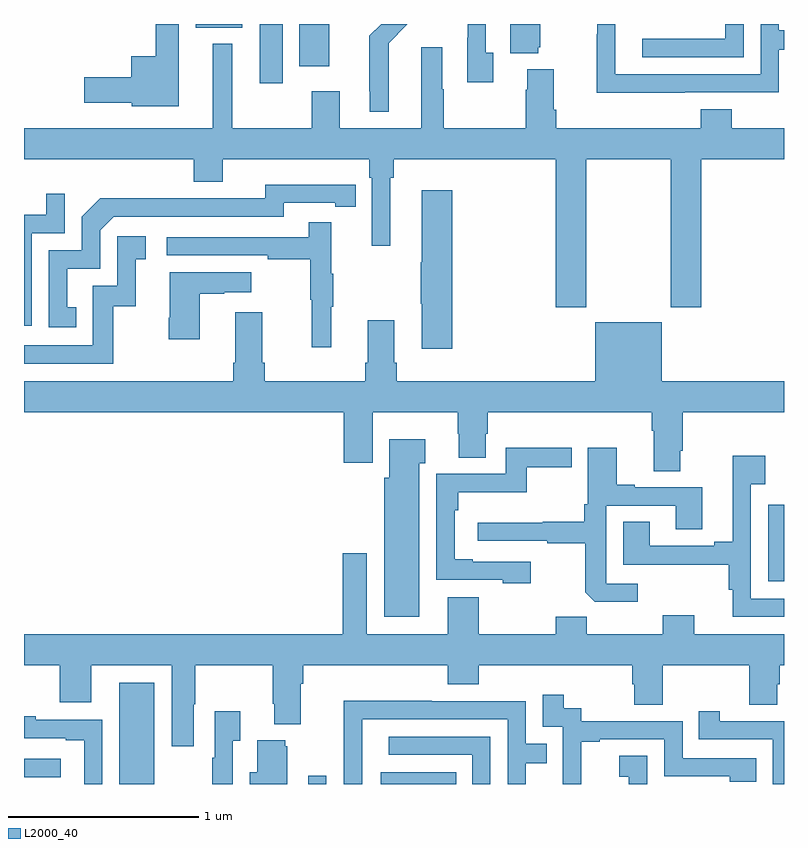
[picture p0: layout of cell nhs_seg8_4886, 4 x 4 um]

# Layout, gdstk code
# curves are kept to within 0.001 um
import gdstk
lib = gdstk.Library(unit=1e-6, precision=1e-09)
def R(c, l, rs):  # rectangles x0, y0, x1, y1
    for r in rs: c.add(gdstk.rectangle(r[:2], r[2:], *l))
def P(c, l, *ps):  # polygons
    for p in ps: c.add(gdstk.Polygon(p, *l))
L2000_40 = (2000, 40)

nhs_seg8_4886 = lib.new_cell('nhs_seg8_4886')
R(nhs_seg8_4886, L2000_40, [(407.501,1091.9,407.686,1092.433), (408.495,1091.9,408.591,1091.944), (408.878,1091.9,409.274,1091.962), (407,1091.936,407.194,1092.033), (410.916,1092.966,411,1093.369), (408.242,1095.588,408.361,1095.9), (408.449,1095.678,408.607,1095.9), (407.903,1095.881,408.148,1095.9)])
P(nhs_seg8_4886, L2000_40, [(408.919,1095.8),(409.018,1095.9),(408.879,1095.9),(408.818,1095.839),(408.818,1095.547),(408.821,1095.547),(408.821,1095.437),(408.919,1095.437)],
  [(410.787,1095.9),(410.691,1095.9),(410.691,1095.822),(410.253,1095.822),(410.253,1095.726),(410.787,1095.726)],
  [(409.706,1095.777),(409.717,1095.777),(409.717,1095.9),(409.559,1095.9),(409.559,1095.746),(409.706,1095.746)],
  [(409.471,1095.75),(409.431,1095.75),(409.431,1095.9),(409.335,1095.9),(409.335,1095.827),(409.334,1095.827),(409.334,1095.594),(409.471,1095.594)],
  [(407.815,1095.9),(407.694,1095.9),(407.694,1095.73),(407.564,1095.73),(407.564,1095.62),(407.316,1095.62),(407.316,1095.485),(407.568,1095.485),(407.568,1095.467),(407.815,1095.467)],
  [(410.477,1095.54),(410.973,1095.54),(410.973,1095.765),(411,1095.765),(411,1095.866),(410.973,1095.866),(410.973,1095.9),(410.877,1095.9),(410.877,1095.636),(410.113,1095.636),(410.113,1095.878),(410.112,1095.878),(410.112,1095.9),(410.016,1095.9),(410.016,1095.845),(410.014,1095.845),(410.014,1095.539),(410.477,1095.539)],
  [(409.959,1095.188),(410.404,1095.188),(410.404,1094.409),(410.564,1094.409),(410.564,1095.188),(411,1095.188),(411,1095.352),(410.726,1095.352),(410.726,1095.451),(410.561,1095.451),(410.561,1095.352),(409.802,1095.352),(409.802,1095.448),(409.789,1095.448),(409.789,1095.661),(409.649,1095.661),(409.649,1095.554),(409.642,1095.554),(409.642,1095.352),(409.209,1095.352),(409.209,1095.557),(409.201,1095.557),(409.201,1095.778),(409.091,1095.778),(409.091,1095.352),(408.661,1095.352),(408.661,1095.547),(408.514,1095.547),(408.514,1095.352),(408.097,1095.352),(408.097,1095.796),(407.993,1095.796),(407.993,1095.352),(407,1095.352),(407,1095.188),(407.894,1095.188),(407.894,1095.071),(408.046,1095.071),(408.046,1095.188),(408.818,1095.188),(408.818,1095.092),(408.831,1095.092),(408.831,1094.733),(408.928,1094.733),(408.928,1095.092),(408.947,1095.092),(408.947,1095.188),(409.799,1095.188),(409.799,1094.409),(409.959,1094.409)],
  [(407.276,1094.409),(407.227,1094.409),(407.227,1094.613),(407.4,1094.613),(407.4,1094.814),(407.472,1094.886),(408.366,1094.886),(408.366,1094.958),(408.638,1094.958),(408.638,1094.938),(408.746,1094.938),(408.746,1095.054),(408.27,1095.055),(408.27,1094.982),(407.81,1094.982),(407.81,1094.984),(407.402,1094.984),(407.304,1094.886),(407.304,1094.709),(407.13,1094.709),(407.13,1094.304),(407.276,1094.304)],
  [(409.253,1095.025),(409.094,1095.025),(409.094,1094.645),(409.087,1094.645),(409.087,1094.428),(409.094,1094.428),(409.094,1094.19),(409.253,1094.19)],
  [(407.04,1094.799),(407.214,1094.799),(407.214,1095.007),(407.117,1095.007),(407.117,1094.895),(407,1094.895),(407,1094.313),(407.04,1094.313)],
  [(408.617,1094.411),(408.628,1094.411),(408.628,1094.585),(408.617,1094.585),(408.617,1094.857),(408.499,1094.857),(408.499,1094.778),(407.751,1094.778),(407.751,1094.682),(408.283,1094.682),(408.283,1094.662),(408.507,1094.662),(408.507,1094.448),(408.514,1094.448),(408.514,1094.199),(408.617,1094.199)],
  [(407.47,1094.415),(407.588,1094.415),(407.588,1094.661),(407.641,1094.661),(407.641,1094.782),(407.49,1094.782),(407.49,1094.523),(407.361,1094.523),(407.361,1094.208),(407,1094.208),(407,1094.112),(407.47,1094.112)],
  [(407.926,1094.479),(408.053,1094.479),(408.053,1094.489),(408.196,1094.489),(408.196,1094.593),(407.768,1094.593),(407.768,1094.353),(407.761,1094.353),(407.761,1094.241),(407.926,1094.241)],
  [(410.455,1093.654),(410.468,1093.654),(410.468,1093.856),(411,1093.856),(411,1094.02),(410.356,1094.02),(410.356,1094.329),(410.006,1094.329),(410.006,1094.02),(408.962,1094.02),(408.962,1094.116),(408.949,1094.116),(408.949,1094.341),(408.809,1094.341),(408.809,1094.116),(408.797,1094.116),(408.797,1094.02),(408.266,1094.02),(408.266,1094.116),(408.253,1094.116),(408.253,1094.383),(408.113,1094.383),(408.113,1094.116),(408.101,1094.116),(408.101,1094.02),(407,1094.02),(407,1093.856),(408.683,1093.856),(408.683,1093.59),(408.835,1093.59),(408.835,1093.856),(409.282,1093.856),(409.282,1093.743),(409.289,1093.743),(409.289,1093.618),(409.429,1093.618),(409.429,1093.743),(409.442,1093.743),(409.442,1093.856),(410.303,1093.856),(410.303,1093.76),(410.315,1093.76),(410.315,1093.546),(410.455,1093.546)],
  [(409.081,1093.589),(409.111,1093.589),(409.111,1093.714),(408.923,1093.714),(408.923,1093.512),(408.896,1093.512),(408.896,1092.779),(409.081,1092.779)],
  [(409.666,1093.071),(409.363,1093.071),(409.363,1093.084),(409.266,1093.084),(409.266,1093.34),(409.286,1093.34),(409.286,1093.436),(409.645,1093.436),(409.645,1093.567),(409.882,1093.567),(409.882,1093.67),(409.536,1093.67),(409.536,1093.533),(409.17,1093.533),(409.17,1092.975),(409.521,1092.975),(409.521,1092.956),(409.666,1092.956)],
  [(410.23,1092.954),(410.064,1092.954),(410.064,1093.365),(410.429,1093.365),(410.429,1093.24),(410.569,1093.24),(410.569,1093.461),(410.215,1093.461),(410.215,1093.474),(410.119,1093.474),(410.119,1093.669),(409.968,1093.669),(409.968,1093.372),(409.948,1093.372),(409.948,1093.28),(409.729,1093.28),(409.729,1093.276),(409.389,1093.276),(409.389,1093.179),(409.753,1093.179),(409.753,1093.167),(409.953,1093.167),(409.953,1092.909),(410.005,1092.858),(410.23,1092.858)],
  [(411,1092.876),(410.826,1092.876),(410.826,1093.478),(410.902,1093.478),(410.902,1093.627),(410.729,1093.627),(410.729,1093.175),(410.633,1093.175),(410.633,1093.155),(410.293,1093.155),(410.293,1093.28),(410.153,1093.28),(410.153,1093.054),(410.71,1093.054),(410.71,1092.923),(410.729,1092.923),(410.729,1092.78),(411,1092.78)],
  [(407,1092.524),(407.189,1092.524),(407.189,1092.33),(407.353,1092.33),(407.353,1092.524),(407.777,1092.524),(407.777,1092.099),(407.893,1092.099),(407.893,1092.32),(407.901,1092.32),(407.901,1092.524),(408.31,1092.524),(408.31,1092.322),(408.317,1092.322),(408.317,1092.215),(408.457,1092.215),(408.457,1092.428),(408.47,1092.428),(408.47,1092.524),(409.229,1092.524),(409.229,1092.425),(409.394,1092.425),(409.394,1092.524),(410.201,1092.524),(410.201,1092.426),(410.213,1092.426),(410.213,1092.316),(410.361,1092.316),(410.361,1092.524),(410.818,1092.524),(410.818,1092.316),(410.965,1092.316),(410.965,1092.426),(410.978,1092.426),(410.978,1092.524),(411,1092.524),(411,1092.688),(410.527,1092.688),(410.527,1092.787),(410.363,1092.787),(410.363,1092.688),(409.963,1092.688),(409.963,1092.781),(409.799,1092.781),(409.799,1092.688),(409.393,1092.688),(409.393,1092.883),(409.229,1092.883),(409.229,1092.688),(408.805,1092.688),(408.805,1093.114),(408.677,1093.114),(408.677,1092.688),(407,1092.688)],
  [(409.934,1092.123),(410.029,1092.123),(410.029,1092.135),(410.37,1092.135),(410.37,1091.94),(410.715,1091.94),(410.715,1091.913),(410.855,1091.913),(410.855,1092.036),(410.466,1092.036),(410.466,1092.231),(409.932,1092.231),(409.932,1092.3),(409.84,1092.3),(409.84,1092.37),(409.731,1092.37),(409.731,1092.201),(409.836,1092.201),(409.836,1091.972),(409.835,1091.972),(409.835,1091.9),(409.934,1091.9)],
  [(408.78,1091.986),(408.781,1091.986),(408.781,1092.24),(409.545,1092.24),(409.545,1091.9),(409.641,1091.9),(409.641,1092.01),(409.751,1092.01),(409.751,1092.111),(409.641,1092.111),(409.641,1092.336),(409.145,1092.336),(409.145,1092.338),(408.682,1092.338),(408.682,1092.031),(408.684,1092.031),(408.684,1091.9),(408.78,1091.9)],
  [(411,1092.231),(410.662,1092.231),(410.662,1092.283),(410.551,1092.283),(410.551,1092.135),(410.94,1092.135),(410.94,1091.9),(411,1091.9)],
  [(408.099,1092.127),(408.139,1092.127),(408.139,1092.283),(408.003,1092.283),(408.003,1092.038),(407.991,1092.038),(407.991,1091.9),(408.099,1091.9)],
  [(407.412,1092.237),(407.061,1092.237),(407.061,1092.256),(407,1092.256),(407,1092.141),(407.219,1092.141),(407.219,1092.129),(407.316,1092.129),(407.316,1091.9),(407.412,1091.9)],
  [(409.455,1092.15),(408.921,1092.15),(408.921,1092.054),(409.359,1092.054),(409.359,1091.9),(409.455,1091.9)],
  [(408.385,1092.099),(408.374,1092.099),(408.374,1092.13),(408.227,1092.13),(408.227,1091.962),(408.188,1091.962),(408.188,1091.9),(408.385,1091.9)],
  [(410.28,1092.049),(410.133,1092.049),(410.133,1091.939),(410.182,1091.939),(410.182,1091.9),(410.28,1091.9)])

lib.write_gds('nhs_seg8_4886.gds')
